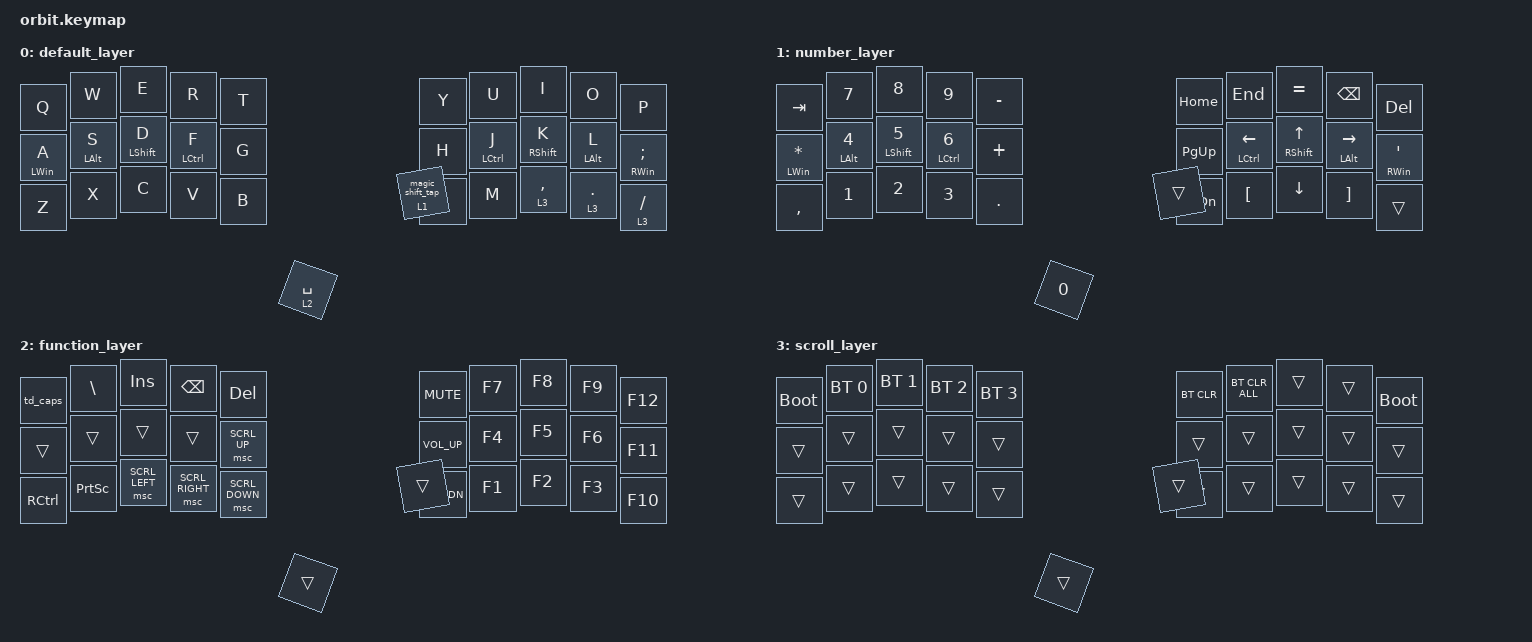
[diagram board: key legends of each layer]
#include <dt-bindings/zmk/input_transform.h>
#include <zephyr/dt-bindings/input/input-event-codes.h>
#include <input/processors.dtsi>
#include <behaviors.dtsi>
#include <dt-bindings/zmk/bt.h>
#include <dt-bindings/zmk/keys.h>
#include <dt-bindings/zmk/pointing.h>

&lt {
    quick-tap-ms = <180>;
    tapping-term-ms = <250>;
};

/ {
    trackball_right { cpi = <800>; };

    trackball_listener {
        scroller {
            layers = <3>;
            input-processors = <
                   &zip_xy_to_scroll_mapper
                   &zip_scroll_transform INPUT_TRANSFORM_Y_INVERT
                   &zip_scroll_scaler 1 16
            >;

            process-next;
        };
    };

    behaviors {
        td_caps: tap_dance_caps {
            compatible = "zmk,behavior-tap-dance";
            #binding-cells = <0>;
            tapping-term-ms = <300>;
            bindings = <&kp RALT>, <&kp CAPS>;

            label = "TAP_DANCE_CAPS";
        };

        hmr: homerow_right_mods {
            compatible = "zmk,behavior-hold-tap";
            label = "HOMEROW_RIGHT_MODS";
            bindings = <&kp>, <&kp>;

            #binding-cells = <2>;
            tapping-term-ms = <280>;
            quick-tap-ms = <175>;
            flavor = "balanced";
            require-prior-idle-ms = <150>;
            hold-trigger-on-release;
            hold-trigger-key-positions = <0 1 2 3 4 14 13 12 11 10 20 21 22 23 24 30 31>;
        };

        sk_shft: sticky_shift {
            compatible = "zmk,behavior-sticky-key";
            label = "STICKY_SHIFT";
            bindings = <&kp>;
            #binding-cells = <1>;
            release-after-ms = <1000>;
        };

        hml: homerow_left_mods {
            compatible = "zmk,behavior-hold-tap";
            label = "HOMEROW_LEFT_MODS";
            bindings = <&kp>, <&kp>;

            #binding-cells = <2>;
            tapping-term-ms = <280>;
            quick-tap-ms = <175>;
            flavor = "balanced";
            require-prior-idle-ms = <150>;
            hold-trigger-on-release;
            hold-trigger-key-positions = <5 6 7 8 9 28 18 15 16 17 25 31 26 27 19 29 30>;
        };

        magic_shift_tap: magic_shift_tap {
            compatible = "zmk,behavior-mod-morph";
            label = "MAGIC_SHIFT_TAP";
            bindings = <&sk_shft LSHFT>, <&caps_word>;

            #binding-cells = <0>;
            mods = <(MOD_LSFT)>;
        };

        magic_shift: magic_shift {
            compatible = "zmk,behavior-hold-tap";
            label = "MAGIC_SHIFT";
            bindings = <&mo>, <&magic_shift_tap>;

            #binding-cells = <2>;
            flavor = "balanced";
            tapping-term-ms = <200>;
            quick-tap-ms = <150>;
        };
    };
};

/ {
    combos {
        compatible = "zmk,combos";

        combo_esc {
            timeout-ms = <50>;
            key-positions = <0 1>;
            bindings = <&kp ESC>;
            require-prior-idle-ms = <100>;
        };

        combo_grave {
            timeout-ms = <50>;
            key-positions = <1 2>;
            bindings = <&kp GRAVE>;
        };

        combo_return {
            timeout-ms = <50>;
            key-positions = <19 29>;
            bindings = <&kp ENTER>;
            slow-release;
            require-prior-idle-ms = <100>;
        };

        combo_lbkt {
            timeout-ms = <50>;
            key-positions = <2 3>;
            bindings = <&kp LPAR>;
        };

        combo_rbkt {
            timeout-ms = <50>;
            key-positions = <6 7>;
            bindings = <&kp RPAR>;
        };

        combo_cut {
            timeout-ms = <50>;
            key-positions = <21 11>;
            bindings = <&kp LC(X)>;
        };

        combo_copy {
            timeout-ms = <50>;
            key-positions = <22 12>;
            bindings = <&kp LC(C)>;
        };

        combo_paste {
            timeout-ms = <50>;
            key-positions = <23 13>;
            bindings = <&kp LC(V)>;
        };

        combo_undo {
            bindings = <&kp LC(Z)>;
            key-positions = <20 10>;
            timeout-ms = <50>;
        };

        combo_lclk {
            timeout-ms = <50>;
            key-positions = <17 27>;
            bindings = <&mkp LCLK>;
            slow-release;
            require-prior-idle-ms = <100>;
        };

        combo_rclk {
            bindings = <&mkp RCLK>;
            key-positions = <28 18>;
            timeout-ms = <50>;
            slow-release;
            require-prior-idle-ms = <100>;
        };

        combo_mclk {
            bindings = <&mkp MCLK>;
            key-positions = <18 8>;
            timeout-ms = <50>;
            slow-release;
            require-prior-idle-ms = <100>;
        };

        combo_prev {
            timeout-ms = <50>;
            key-positions = <16 26>;
            bindings = <&mkp MB4>;
            require-prior-idle-ms = <100>;
        };

        combo_next {
            timeout-ms = <50>;
            key-positions = <25 15>;
            bindings = <&mkp MB5>;
            require-prior-idle-ms = <100>;
        };

        combo_bspc {
            bindings = <&kp BSPC>;
            key-positions = <19 9>;
            timeout-ms = <50>;
            slow-release;
            require-prior-idle-ms = <100>;
        };

        combo_tilde {
            bindings = <&kp TILDE>;
            key-positions = <3 4>;
            timeout-ms = <50>;
        };

        combo_under {
            bindings = <&kp UNDER>;
            key-positions = <5 6>;
            timeout-ms = <50>;
        };
    };

    keymap {
        compatible = "zmk,keymap";

        default_layer {
            bindings = <
&kp Q        &kp W        &kp E         &kp R         &kp T                &kp Y             &kp U         &kp I         &kp O        &kp P
&hml LWIN A  &hml LALT S  &hml LSHFT D  &hml LCTRL F  &kp G                &kp H             &hmr LCTRL J  &hmr RSHFT K  &hmr LALT L  &hmr RWIN SEMI
&kp Z        &kp X        &kp C         &kp V         &kp B                &kp N             &kp M         &lt 3 COMMA   &lt 3 DOT    &lt 3 SLASH
                                                      &lt 2 SPACE          &magic_shift 1 0
            >;
        };

        number_layer {
            bindings = <
&kp TAB          &kp N7        &kp N8         &kp N9         &kp MINUS          &kp HOME   &kp END          &kp EQUAL      &kp BSPC         &kp DEL
&hml LWIN ASTRK  &hml LALT N4  &hml LSHFT N5  &hml LCTRL N6  &kp PLUS           &kp PG_UP  &hmr LCTRL LEFT  &hmr RSHFT UP  &hmr LALT RIGHT  &hmr RWIN SQT
&kp COMMA        &kp N1        &kp N2         &kp N3         &kp DOT            &kp PG_DN  &kp LBKT         &kp DOWN       &kp RBKT         &trans
                                                             &kp N0             &trans
            >;
        };

        function_layer {
            bindings = <
&td_caps   &kp BSLH         &kp INS         &kp BSPC         &kp DEL                 &kp C_MUTE    &kp F7  &kp F8  &kp F9  &kp F12
&trans     &trans           &trans          &trans           &msc SCRL_UP            &kp C_VOL_UP  &kp F4  &kp F5  &kp F6  &kp F11
&kp RCTRL  &kp PRINTSCREEN  &msc SCRL_LEFT  &msc SCRL_RIGHT  &msc SCRL_DOWN          &kp C_VOL_DN  &kp F1  &kp F2  &kp F3  &kp F10
                                                             &trans                  &trans
            >;
        };

        scroll_layer {
            bindings = <
&bootloader  &bt BT_SEL 0  &bt BT_SEL 1  &bt BT_SEL 2  &bt BT_SEL 3          &bt BT_CLR  &bt BT_CLR_ALL  &trans  &trans  &bootloader
&trans       &trans        &trans        &trans        &trans                &trans      &trans          &trans  &trans  &trans
&trans       &trans        &trans        &trans        &trans                &trans      &trans          &trans  &trans  &trans
                                                       &trans                &trans
            >;
        };
    };
};
